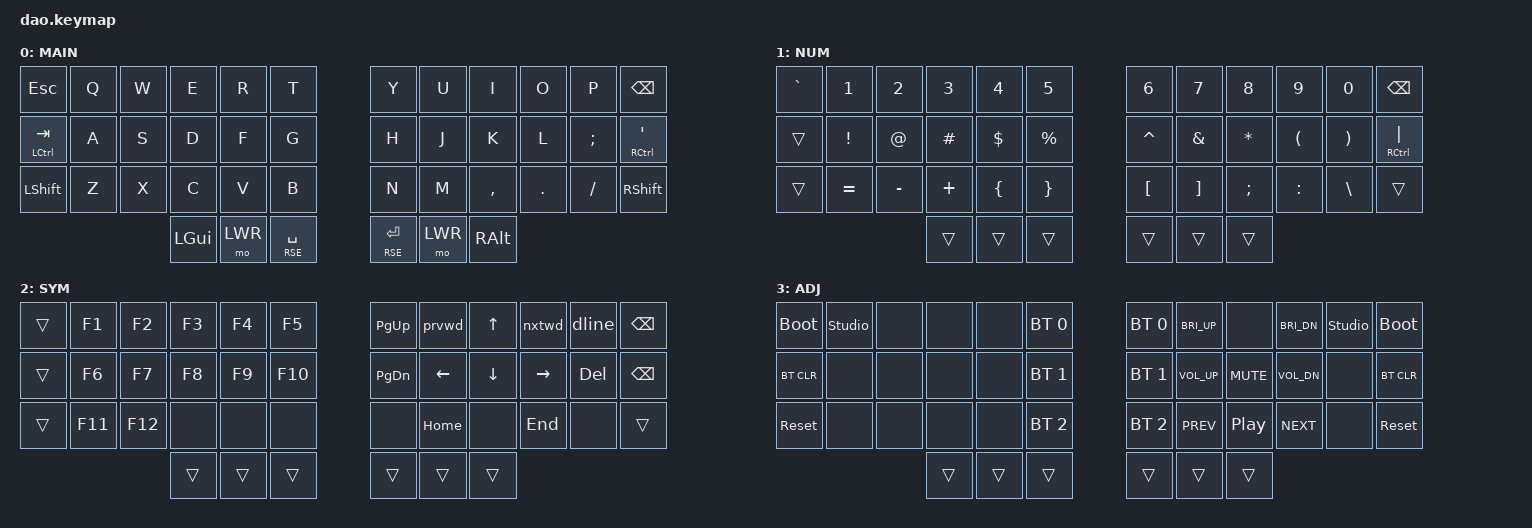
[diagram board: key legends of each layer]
/*
 * Copyright (c) 2021 Rafael Yumagulov
 *
 * SPDX-License-Identifier: MIT
 */

#include <behaviors.dtsi>
#include <dt-bindings/zmk/keys.h>
#include <dt-bindings/zmk/bt.h>

#define DEF 0
#define LWR 1
#define RSE 2
#define ADJ 3

&lt { quick_tap_ms = <200>; };
&mt { quick_tap_ms = <200>; };

/ {
    chosen {
        zmk,physical_layout = &dao_crkbd_layout;
        // zmk,physical_layout = &dao_full_layout;
    };
};

/ {
        macros {
                prvwd: prvwd {
                    label = "ZM_prvwd";
                    compatible = "zmk,behavior-macro";
                    #binding-cells = <0>;
                    bindings
                        = <&macro_press &kp LCTRL>
                        , <&macro_tap &kp LEFT>
                        , <&macro_release &kp LCTRL>
                        ;
                };
                nxtwd: nxtwd {
                    label = "ZM_nxtwd";
                    compatible = "zmk,behavior-macro";
                    #binding-cells = <0>;
                    bindings
                        = <&macro_press &kp LCTRL>
                        , <&macro_tap &kp RIGHT>
                        , <&macro_release &kp LCTRL>
                        ;
                };
                dline: dline {
                    label = "ZM_dline";
                    compatible = "zmk,behavior-macro";
                    #binding-cells = <0>;
                    bindings
                        = <&macro_press &kp LCTRL>
                        , <&macro_tap &kp BSPC>
                        , <&macro_release &kp LCTRL>
                        ;
                };
            };
        keymap {
                compatible = "zmk,keymap";

                default_layer {
                        display-name = "MAIN";
                        bindings = <
          &kp ESC           &kp Q   &kp W   &kp E         &kp R             &kp T         &kp Y         &kp U            &kp I         &kp O     &kp P      &kp BSPC
          &mt LCTRL TAB     &kp A   &kp S   &kp D         &kp F             &kp G         &kp H         &kp J            &kp K         &kp L     &kp SEMI   &mt RCTRL SQT
          &kp LSHIFT        &kp Z   &kp X   &kp C         &kp V             &kp B         &kp N         &kp M            &kp COMMA     &kp DOT   &kp FSLH   &kp RSHIFT
                                            &kp LGUI      &mo LWR           &lt RSE SPACE &lt RSE ENTER &mo LWR          &kp RALT
                        >;
                };
                lower_layer {
                        display-name = "NUM";
                        bindings = <
          &kp GRAVE         &kp N1     &kp N2    &kp N3        &kp N4     &kp N5      &kp N6      &kp N7     &kp N8        &kp N9     &kp N0     &kp BSPC
          &trans            &kp EXCL   &kp AT    &kp HASH      &kp DLLR   &kp PRCNT   &kp CARET   &kp AMPS   &kp STAR      &kp LPAR   &kp RPAR   &mt RCTRL  PIPE
          &trans            &kp EQUAL  &kp MINUS &kp PLUS      &kp LBRC   &kp RBRC    &kp LBKT    &kp RBKT   &kp SEMI      &kp COLON  &kp BSLH   &trans
                                                 &trans        &trans     &trans      &trans      &trans     &trans
                        >;
                };

                raise_layer {
                        display-name = "SYM";
                        bindings = <
          &trans   &kp F1    &kp F2   &kp F3   &kp F4   &kp F5     &kp PG_UP   &prvwd     &kp UP        &nxtwd     &dline     &kp BSPC
          &trans   &kp F6    &kp F7   &kp F8   &kp F9   &kp F10    &kp PG_DN   &kp LEFT   &kp DOWN      &kp RIGHT  &kp DEL    &kp BSPC
          &trans   &kp F11   &kp F12  &none    &none    &none      &none       &kp HOME   &none         &kp END    &none      &trans
                                      &trans   &trans   &trans     &trans      &trans     &trans
                        >;
                };
                adjust_layer {
                        display-name = "ADJ";
                        bindings = <
 &bootloader   &studio_unlock &none          &none          &none          &bt BT_SEL 0   &bt BT_SEL 0   &kp C_BRI_UP   &none          &kp C_BRI_DN   &studio_unlock &bootloader
 &bt BT_CLR    &none          &none          &none          &none          &bt BT_SEL 1   &bt BT_SEL 1   &kp C_VOL_UP   &kp C_MUTE     &kp C_VOL_DN   &none          &bt BT_CLR
 &sys_reset    &none          &none          &none          &none          &bt BT_SEL 2   &bt BT_SEL 2   &kp C_PREV     &kp C_PP       &kp C_NEXT     &none          &sys_reset
                                             &trans         &trans         &trans         &trans         &trans         &trans
                        >;
                };
        };
};

